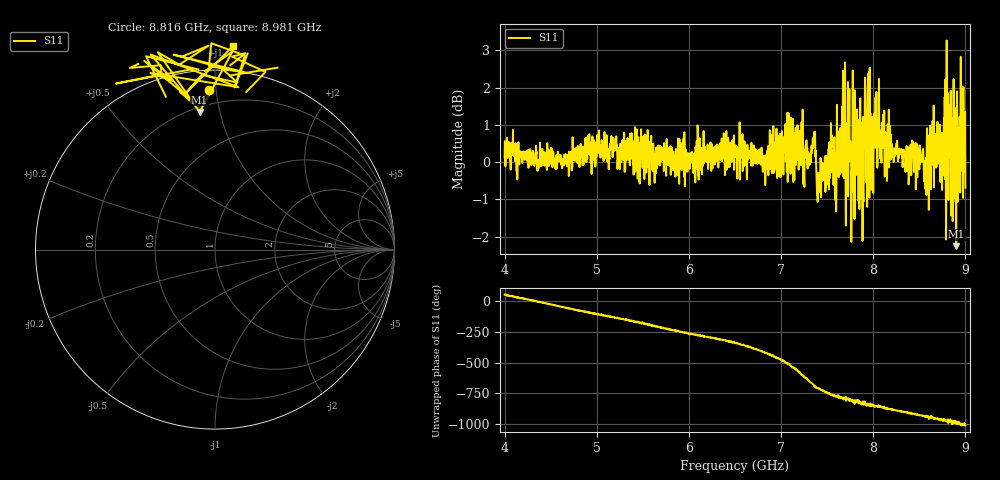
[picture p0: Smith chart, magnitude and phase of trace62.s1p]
! Created with skrf 1.8.0 (http://scikit-rf.org).
# Hz S RI R 50.0
!freq ReS11 ImS11
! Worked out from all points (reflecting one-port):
!   1601 points, 4 GHz to 9 GHz, reference 50 ohm
!   lowest |S11| = -2.3 dB at 8.9 GHz (marker M1), VSWR 7.73, Z = 11.5 + j43.4 ohm
!   phase of S11 starts at 52 deg and turns -1058 deg over the sweep
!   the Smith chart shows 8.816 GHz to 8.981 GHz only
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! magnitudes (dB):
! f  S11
! 4 GHz  0.1
! 4.625 GHz  -0.2
! 5.25 GHz  -0.2
! 5.875 GHz  0.0
! 6.5 GHz  0.3
! 6.806 GHz  0.0
! 7.069 GHz  1.3
! 7.125 GHz  1.2
! 7.262 GHz  0.3
! 7.353 GHz  0.6
! 7.409 GHz  -0.8
! 7.553 GHz  -0.2
! 7.575 GHz  0.4
! 7.669 GHz  0.9
! 7.75 GHz  0.6
! 7.844 GHz  1.1
! 7.872 GHz  0.8
! 7.928 GHz  0.9
! 7.981 GHz  -0.7
! 8.038 GHz  0.7
! 8.375 GHz  0.0
! 8.522 GHz  0.2
! 8.581 GHz  0.6
! 8.819 GHz  1.5
! 8.856 GHz  -0.8
! 8.9 GHz  -2.3
! 8.972 GHz  0.3
! 9 GHz  -0.7
